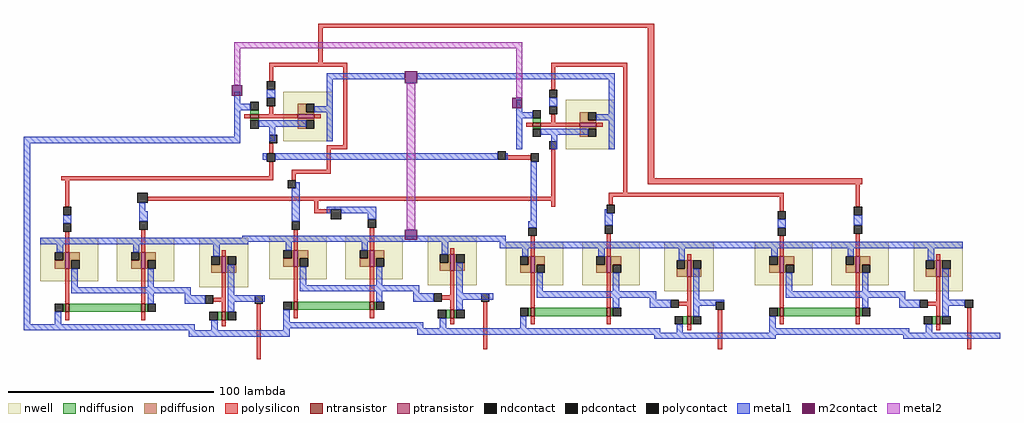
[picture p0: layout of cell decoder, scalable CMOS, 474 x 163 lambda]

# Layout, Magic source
magic
tech scmos
<< nwell >>
rect -82 99 -80 123
rect 55 95 57 119
rect 5 29 33 50
rect 42 29 70 50
rect 82 26 106 50
rect 126 29 154 50
rect 163 29 191 50
rect 203 26 227 50
<< ntransistor >>
rect 17 14 19 18
rect 54 14 56 18
rect 93 10 95 14
rect 138 14 140 18
rect 175 14 177 18
rect 214 10 216 14
<< ptransistor >>
rect 17 35 19 43
rect 54 35 56 43
rect 93 33 95 41
rect 138 35 140 43
rect 175 35 177 43
rect 214 33 216 41
<< ndiffusion >>
rect 16 14 17 18
rect 19 14 54 18
rect 56 14 57 18
rect 91 10 93 14
rect 95 10 96 14
rect 137 14 138 18
rect 140 14 175 18
rect 177 14 178 18
rect 212 10 214 14
rect 216 10 217 14
<< pdiffusion >>
rect 16 39 17 43
rect 12 35 17 39
rect 19 39 24 43
rect 19 35 20 39
rect 53 39 54 43
rect 49 35 54 39
rect 56 39 61 43
rect 56 35 57 39
rect 92 37 93 41
rect 88 33 93 37
rect 95 37 96 41
rect 95 33 100 37
rect 137 39 138 43
rect 133 35 138 39
rect 140 39 145 43
rect 140 35 141 39
rect 174 39 175 43
rect 170 35 175 39
rect 177 39 182 43
rect 177 35 178 39
rect 213 37 214 41
rect 209 33 214 37
rect 216 37 217 41
rect 216 33 221 37
<< ndcontact >>
rect 12 14 16 18
rect 57 14 61 18
rect 87 10 91 14
rect 96 10 100 14
rect 133 14 137 18
rect 178 14 182 18
rect 208 10 212 14
rect 217 10 221 14
<< pdcontact >>
rect 12 39 16 43
rect 20 35 24 39
rect 49 39 53 43
rect 57 35 61 39
rect 88 37 92 41
rect 96 37 100 41
rect 133 39 137 43
rect 141 35 145 39
rect 170 39 174 43
rect 178 35 182 39
rect 209 37 213 41
rect 217 37 221 41
<< polysilicon >>
rect -86 154 77 156
rect -86 137 -84 154
rect -110 135 -72 137
rect -110 128 -108 135
rect -110 93 -108 98
rect -74 97 -72 135
rect 27 135 64 137
rect 27 124 29 135
rect -82 95 -72 97
rect -110 82 -108 89
rect -82 85 -80 95
rect 5 90 17 92
rect -211 80 -108 82
rect -99 83 -80 85
rect -99 80 -97 83
rect -209 67 -207 80
rect 27 72 29 95
rect 62 74 64 135
rect 74 81 77 154
rect 74 78 178 81
rect -169 70 29 72
rect -88 66 -86 70
rect 27 67 29 70
rect 55 72 140 74
rect 55 68 57 72
rect -88 64 -80 66
rect 138 65 140 72
rect 175 67 177 78
rect 17 43 19 53
rect 54 43 56 54
rect 93 41 95 44
rect 138 43 140 53
rect 175 43 177 54
rect -116 -7 -114 20
rect -6 -2 -4 21
rect 17 18 19 35
rect 54 18 56 35
rect 214 41 216 44
rect 93 21 95 33
rect 89 19 95 21
rect 93 14 95 19
rect 138 18 140 35
rect 175 18 177 35
rect 214 21 216 33
rect 210 19 216 21
rect 17 10 19 14
rect 54 10 56 14
rect 93 7 95 10
rect 108 -2 110 17
rect 214 14 216 19
rect 138 10 140 14
rect 175 10 177 14
rect 214 7 216 10
rect 229 -2 231 18
<< polycontact >>
rect -111 124 -107 128
rect -110 98 -106 102
rect 26 120 30 124
rect 26 95 30 99
rect -111 89 -107 93
rect 1 90 5 94
rect 17 89 21 93
rect -101 76 -97 80
rect -174 69 -169 74
rect -210 63 -206 67
rect -80 61 -75 66
rect 54 64 58 68
rect 137 61 141 65
rect 174 63 178 67
rect 16 53 20 57
rect 53 54 57 58
rect 137 53 141 57
rect 174 54 178 58
rect -117 20 -113 24
rect -7 21 -3 25
rect 85 18 89 22
rect 107 17 111 21
rect 206 18 210 22
rect 228 18 232 22
<< metal1 >>
rect -82 129 -44 132
rect -111 123 -107 124
rect -82 123 -79 129
rect -38 129 58 132
rect 26 119 30 120
rect 55 119 58 129
rect -229 98 -124 101
rect -229 10 -226 98
rect -113 90 -111 93
rect -107 90 1 93
rect 5 90 6 93
rect -97 76 -95 79
rect -210 62 -206 63
rect -173 65 -170 69
rect -173 62 -169 65
rect -99 63 -95 76
rect -82 66 -58 67
rect -82 64 -80 66
rect -75 64 -58 66
rect -62 63 -58 64
rect 17 60 20 89
rect 16 57 20 60
rect -123 52 -110 53
rect -121 50 -110 52
rect 53 64 54 66
rect 53 58 57 64
rect 137 57 141 61
rect 174 58 178 63
rect -9 50 5 53
rect 2 47 227 50
rect 13 43 16 47
rect 50 43 53 47
rect 89 41 92 47
rect 134 43 137 47
rect 171 43 174 47
rect 210 41 213 47
rect 20 26 23 35
rect 57 26 60 35
rect 20 23 78 26
rect 57 18 60 23
rect 75 22 78 23
rect 96 22 99 37
rect 141 26 144 35
rect 178 26 181 35
rect 141 23 199 26
rect 75 18 85 22
rect 96 21 111 22
rect 96 19 107 21
rect 96 14 99 19
rect 178 18 181 23
rect 196 22 199 23
rect 217 22 220 37
rect 196 18 206 22
rect 217 19 228 22
rect 217 14 220 19
rect -229 7 -212 10
rect -103 7 -100 9
rect 12 8 15 14
rect -120 4 -100 7
rect -10 6 80 8
rect 88 6 91 10
rect 133 8 136 14
rect 133 6 201 8
rect 209 6 212 10
rect -10 5 245 6
rect 77 3 136 5
rect 198 3 245 5
<< m2contact >>
rect -128 121 -123 126
rect -44 127 -38 133
rect 8 115 13 120
rect -44 51 -38 56
<< metal2 >>
rect -127 144 13 147
rect -127 126 -124 144
rect -43 56 -39 127
rect 10 120 13 144
use not  not_1
transform 0 1 43 -1 0 107
box -12 -33 12 15
use not  not_0
transform 0 1 -94 -1 0 111
box -12 -33 12 15
use and2  and2_0
transform 1 0 -185 0 1 35
box -36 -31 73 27
use and2  and2_1
transform 1 0 -74 0 1 36
box -36 -31 73 27
<< end >>

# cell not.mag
magic
tech scmos
<< nwell >>
rect -12 -9 12 15
<< ntransistor >>
rect -1 -25 1 -21
<< ptransistor >>
rect -1 -2 1 6
<< ndiffusion >>
rect -3 -25 -1 -21
rect 1 -25 2 -21
<< pdiffusion >>
rect -2 2 -1 6
rect -6 -2 -1 2
rect 1 2 2 6
rect 1 -2 6 2
<< ndcontact >>
rect -7 -25 -3 -21
rect 2 -25 6 -21
<< pdcontact >>
rect -6 2 -2 6
rect 2 2 6 6
<< polysilicon >>
rect -1 6 1 9
rect -1 -14 1 -2
rect -5 -16 1 -14
rect -1 -21 1 -16
rect -1 -28 1 -25
<< polycontact >>
rect -9 -17 -5 -13
<< metal1 >>
rect -12 12 12 15
rect -5 6 -2 12
rect 2 -13 5 2
rect -12 -17 -9 -13
rect 2 -16 12 -13
rect 2 -21 5 -16
rect -6 -30 -3 -25
rect -12 -33 12 -30
<< end >>

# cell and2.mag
magic
tech scmos
<< nwell >>
rect -36 -4 -8 17
rect 1 -4 29 17
<< ntransistor >>
rect -24 -19 -22 -15
rect 13 -19 15 -15
<< ptransistor >>
rect -24 2 -22 10
rect 13 2 15 10
<< ndiffusion >>
rect -25 -19 -24 -15
rect -22 -19 13 -15
rect 15 -19 16 -15
<< pdiffusion >>
rect -25 6 -24 10
rect -29 2 -24 6
rect -22 6 -17 10
rect -22 2 -21 6
rect 12 6 13 10
rect 8 2 13 6
rect 15 6 20 10
rect 15 2 16 6
<< ndcontact >>
rect -29 -19 -25 -15
rect 16 -19 20 -15
<< pdcontact >>
rect -29 6 -25 10
rect -21 2 -17 6
rect 8 6 12 10
rect 16 2 20 6
<< polysilicon >>
rect -24 10 -22 20
rect 13 10 15 21
rect -24 -15 -22 2
rect 13 -15 15 2
rect -24 -23 -22 -19
rect 13 -23 15 -19
<< polycontact >>
rect -25 20 -21 24
rect 12 21 16 25
<< metal1 >>
rect -25 24 -21 27
rect 12 25 16 27
rect -36 14 41 17
rect -28 10 -25 14
rect 9 10 12 14
rect -21 -7 -18 2
rect 16 -7 19 2
rect -21 -10 37 -7
rect 16 -15 19 -10
rect 34 -11 37 -10
rect 34 -15 41 -11
rect 65 -14 73 -11
rect -29 -25 -26 -19
rect -29 -28 39 -25
rect 36 -31 43 -28
use not  not_0
transform 1 0 53 0 1 2
box -12 -33 12 15
<< end >>
